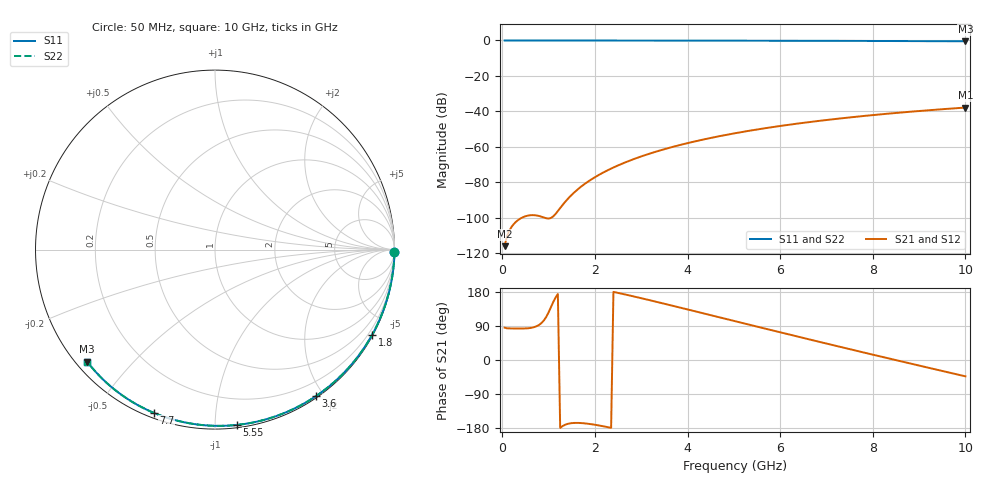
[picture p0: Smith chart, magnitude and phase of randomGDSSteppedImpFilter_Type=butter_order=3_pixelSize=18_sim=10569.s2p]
! freq	dB(S11)	phase(S11)	dB(S12)	phase(S12)
!  dB(S21)	phase(S21)	dB(S22)	phase(S22)
!S-par simulation data
#  GHz  S  DB  R 50
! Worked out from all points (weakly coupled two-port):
!   200 points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, 50 MHz to 10 GHz, reference 50 ohm
!   highest |S21| = -37.84 dB at 10 GHz (marker M1); lowest = -116.0 dB at 50 MHz (marker M2)
!   lowest |S11| = -0.5 dB at 10 GHz (marker M3), VSWR 36.92, Z = 1.55 - j18.8 ohm
!   |S11| at or under -10 dB: nowhere
!   |S22| runs from -0.5 to 0.0 dB; largest |S21 - S12| = 0
!   S11 on the Smith chart (normalised r, x): 50 MHz: open; 1.8 GHz: 0.03, -3.95; 3.6 GHz: 0.02, -1.90; 5.55 GHz: 0.02, -1.13; 7.7 GHz: 0.02, -0.69; 10 GHz: 0.03, -0.38
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0.05  -0.00 -0.8  -116.00 85.4  -116.00 85.4  -0.00 -0.8
0.45  -0.01 -7.2  -99.62 83.1  -99.62 83.1  -0.01 -7.2
0.9  -0.02 -14.4  -99.88 104.8  -99.88 104.8  -0.02 -14.4
1.75  -0.04 -27.7  -81.46 -166.9  -81.46 -166.9  -0.04 -27.7
1.8  -0.04 -28.4  -80.51 -167.5  -80.51 -167.5  -0.04 -28.4
1.85  -0.04 -29.2  -79.61 -168.2  -79.61 -168.2  -0.04 -29.2
2.05  -0.04 -32.3  -76.35 -171.9  -76.35 -171.9  -0.04 -32.3
2.25  -0.05 -35.4  -73.52 -176.5  -73.52 -176.5  -0.05 -35.4
2.55  -0.05 -39.9  -69.89 175.7  -69.89 175.7  -0.05 -39.9
2.95  -0.06 -46.0  -65.85 164.6  -65.85 164.6  -0.06 -46.0
3.4  -0.07 -52.6  -62.06 151.4  -62.06 151.4  -0.07 -52.6
3.6  -0.07 -55.6  -60.58 145.5  -60.58 145.5  -0.07 -55.6
3.9  -0.08 -59.9  -58.53 136.5  -58.53 136.5  -0.08 -59.9
4.3  -0.09 -65.6  -56.09 124.4  -56.09 124.4  -0.09 -65.6
5.05  -0.12 -76.1  -52.20 101.7  -52.20 101.7  -0.12 -76.1
5.55  -0.14 -82.9  -50.00 86.6  -50.00 86.6  -0.14 -82.9
6.1  -0.16 -90.2  -47.86 70.1  -47.86 70.1  -0.16 -90.2
6.7  -0.19 -98.0  -45.79 52.2  -45.79 52.2  -0.19 -98.0
7.7  -0.25 -110.6  -42.86 22.8  -42.86 22.8  -0.25 -110.7
8.35  -0.30 -118.7  -41.23 4.0  -41.23 4.0  -0.30 -118.7
9.2  -0.38 -129.0  -39.37 -20.4  -39.37 -20.4  -0.38 -129.0
10  -0.47 -138.7  -37.84 -43.1  -37.84 -43.1  -0.47 -138.7
